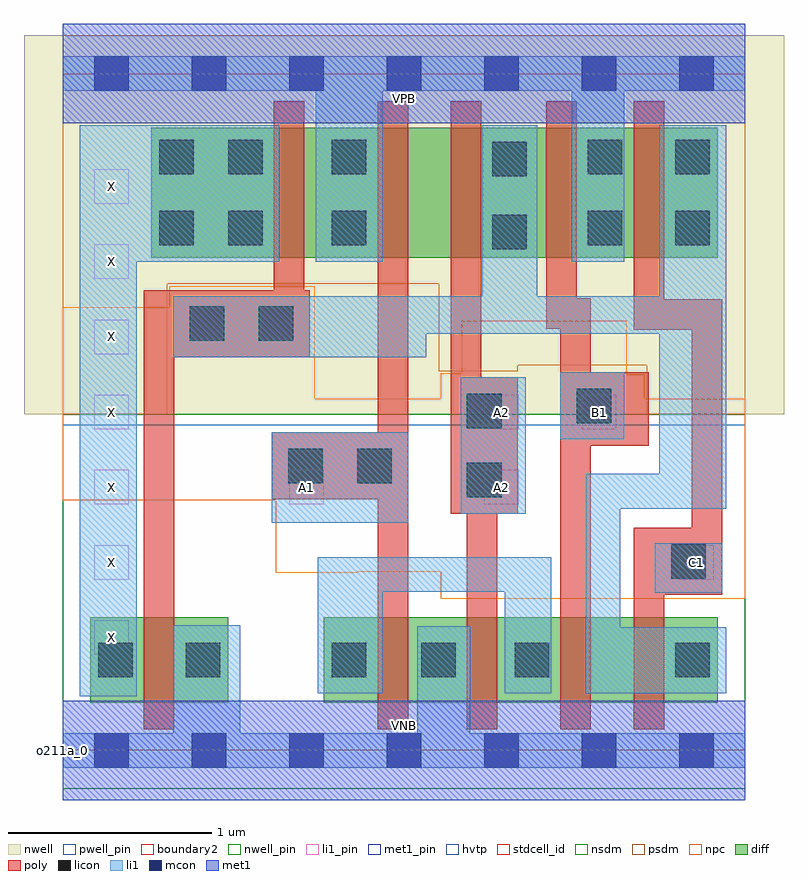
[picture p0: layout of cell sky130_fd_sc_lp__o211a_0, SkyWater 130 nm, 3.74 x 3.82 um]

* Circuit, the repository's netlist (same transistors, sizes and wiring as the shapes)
* Copyright 2020 The SkyWater PDK Authors
*
* Licensed under the Apache License, Version 2.0 (the "License");
* you may not use this file except in compliance with the License.
* You may obtain a copy of the License at
*
*     https://www.apache.org/licenses/LICENSE-2.0
*
* Unless required by applicable law or agreed to in writing, software
* distributed under the License is distributed on an "AS IS" BASIS,
* WITHOUT WARRANTIES OR CONDITIONS OF ANY KIND, either express or implied.
* See the License for the specific language governing permissions and
* limitations under the License.
*
* SPDX-License-Identifier: Apache-2.0

.SUBCKT sky130_fd_sc_lp__o211a_0 A1 A2 B1 C1 VGND VNB VPB VPWR X
*.PININFO A1:I A2:I B1:I C1:I VGND:I VNB:I VPB:I VPWR:I X:O
MMPA0 VPWR A1 sndA1 VPB sky130_fd_pr__pfet_01v8_hvt m=1 w=0.64U l=0.15U mult=1
+ sa=0.265 sb=0.265 sd=0.28 area=0.063 perim=1.14
MMPA1 sndA1 A2 y VPB sky130_fd_pr__pfet_01v8_hvt m=1 w=0.64U l=0.15U mult=1 sa=0.265
+ sb=0.265 sd=0.28 area=0.063 perim=1.14
MMPB0 VPWR B1 y VPB sky130_fd_pr__pfet_01v8_hvt m=1 w=0.64U l=0.15U mult=1 sa=0.265
+ sb=0.265 sd=0.28 area=0.063 perim=1.14
MMPC0 VPWR C1 y VPB sky130_fd_pr__pfet_01v8_hvt m=1 w=0.64U l=0.15U mult=1 sa=0.265
+ sb=0.265 sd=0.28 area=0.063 perim=1.14
MMIPX X y VPWR VPB sky130_fd_pr__pfet_01v8_hvt m=1 w=0.64U l=0.15U mult=1 sa=0.265
+ sb=0.265 sd=0.28 area=0.063 perim=1.14
MMNA0 pndA A1 VGND VNB sky130_fd_pr__nfet_01v8 m=1 w=0.42U l=0.15U mult=1 sa=0.265
+ sb=0.265 sd=0.28 area=0.063 perim=1.14
MMNA1 pndA A2 VGND VNB sky130_fd_pr__nfet_01v8 m=1 w=0.42U l=0.15U mult=1 sa=0.265
+ sb=0.265 sd=0.28 area=0.063 perim=1.14
MMNB0 pndB B1 pndA VNB sky130_fd_pr__nfet_01v8 m=1 w=0.42U l=0.15U mult=1 sa=0.265
+ sb=0.265 sd=0.28 area=0.063 perim=1.14
MMNC0 y C1 pndB VNB sky130_fd_pr__nfet_01v8 m=1 w=0.42U l=0.15U mult=1 sa=0.265
+ sb=0.265 sd=0.28 area=0.063 perim=1.14
MMINX X y VGND VNB sky130_fd_pr__nfet_01v8 m=1 w=0.42U l=0.15U mult=1 sa=0.265
+ sb=0.265 sd=0.28 area=0.063 perim=1.14
.ENDS sky130_fd_sc_lp__o211a_0

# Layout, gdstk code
import gdstk
lib = gdstk.Library(unit=1e-6, precision=1e-09)
def R(c, l, rs):  # rectangles x0, y0, x1, y1
    for r in rs: c.add(gdstk.rectangle(r[:2], r[2:], *l))
def A(c, l, x, y, w, h, nx, ny, dx, dy):  # array of equal rectangles
    R(c, l, [(x+i*dx, y+j*dy, x+i*dx+w, y+j*dy+h) for i in range(nx) for j in range(ny)])
def P(c, l, *ps):  # polygons
    for p in ps: c.add(gdstk.Polygon(p, *l))
nwell_pin = (64, 16)
nwell = (64, 20)
diff = (65, 20)
poly = (66, 20)
licon = (66, 44)
li1_pin = (67, 16)
li1 = (67, 20)
mcon = (67, 44)
met1_pin = (68, 16)
met1 = (68, 20)
hvtp = (78, 44)
stdcell_id = (81, 4)
nsdm = (93, 44)
psdm = (94, 20)
npc = (95, 20)
pwell_pin = (122, 16)
boundary2 = (236, 0)

sky130_fd_sc_lp__o211a_0 = lib.new_cell('sky130_fd_sc_lp__o211a_0')
R(sky130_fd_sc_lp__o211a_0, nwell_pin, [(0,3.085,3.36,3.33)])
R(sky130_fd_sc_lp__o211a_0, nwell, [(-0.19,1.655,3.55,3.52)])
R(sky130_fd_sc_lp__o211a_0, diff, [(0.135,0.235,0.815,0.655), (1.285,0.235,3.225,0.655), (0.435,2.425,3.225,3.065)])
P(sky130_fd_sc_lp__o211a_0, poly, [(1.215,2.265),(1.19,2.265),(1.19,3.195),(1.04,3.195),(1.04,2.265),(0.4,2.265),(0.4,0.105),(0.55,0.105),(0.55,1.935),(1.215,1.935)],
  [(1.7,3.195),(1.55,3.195),(1.55,1.565),(1.03,1.565),(1.03,1.235),(1.55,1.235),(1.55,0.105),(1.7,0.105)],
  [(2.24,1.835),(2.06,1.835),(2.06,3.195),(1.91,3.195),(1.91,1.165),(1.99,1.165),(1.99,0.105),(2.14,0.105),(2.14,1.165),(2.24,1.165)],
  [(3.245,2.22),(2.96,2.22),(2.96,3.195),(2.81,3.195),(2.81,2.07),(3.095,2.07),(3.095,1.095),(2.81,1.095),(2.81,0.105),(2.96,0.105),(2.96,0.765),(3.245,0.765)],
  [(2.885,1.86),(2.6,1.86),(2.6,2.225),(2.53,2.225),(2.53,3.195),(2.38,3.195),(2.38,2.075),(2.45,2.075),(2.45,0.105),(2.6,0.105),(2.6,1.5),(2.885,1.5)])
R(sky130_fd_sc_lp__o211a_0, licon, [(0.175,0.36,0.345,0.53), (0.605,0.36,0.775,0.53), (1.325,0.36,1.495,0.53), (1.765,0.36,1.935,0.53), (2.225,0.36,2.395,0.53), (3.015,0.36,3.185,0.53), (2.995,0.845,3.165,1.015), (1.99,1.245,2.16,1.415), (1.11,1.315,1.28,1.485), (1.45,1.315,1.62,1.485), (1.99,1.585,2.16,1.755), (2.53,1.61,2.7,1.78), (0.625,2.015,0.795,2.185), (0.965,2.015,1.135,2.185), (2.115,2.465,2.285,2.635), (0.475,2.485,0.645,2.655), (0.815,2.485,0.985,2.655), (1.325,2.485,1.495,2.655), (2.585,2.485,2.755,2.655), (3.015,2.485,3.185,2.655), (2.115,2.825,2.285,2.995), (0.475,2.835,0.645,3.005), (0.815,2.835,0.985,3.005), (1.325,2.835,1.495,3.005), (2.585,2.835,2.755,3.005), (3.015,2.835,3.185,3.005)])
A(sky130_fd_sc_lp__o211a_0, li1_pin, 0.155, 1.21, 0.17, 0.17, 3, 1, 0.96, 0)
A(sky130_fd_sc_lp__o211a_0, li1_pin, 0.155, 1.58, 0.17, 0.17, 1, 4, 0, 0.37)
R(sky130_fd_sc_lp__o211a_0, li1_pin, [(0.155,0.47,0.325,0.64), (0.155,0.84,0.325,1.01), (3.035,0.84,3.205,1.01), (2.075,1.58,2.245,1.75), (2.555,1.58,2.725,1.75)])
R(sky130_fd_sc_lp__o211a_0, li1, [(2.915,0.775,3.245,1.02), (1.03,1.12,1.7,1.565), (1.96,1.165,2.28,1.835), (2.45,1.53,2.765,1.86)])
P(sky130_fd_sc_lp__o211a_0, li1, [(1.065,3.075),(0.085,3.075),(0.085,0.265),(0.365,0.265),(0.365,2.405),(1.065,2.405)],
  [(3.36,0.085),(2.005,0.085),(2.005,0.61),(1.745,0.61),(1.745,0.085),(0.875,0.085),(0.875,0.615),(0.545,0.615),(0.545,0.085),(0,0.085),(0,-0.085),(3.36,-0.085)],
  [(2.405,0.95),(1.255,0.95),(1.255,0.28),(1.575,0.28),(1.575,0.78),(2.175,0.78),(2.175,0.28),(2.405,0.28)],
  [(3.265,0.605),(2.745,0.605),(2.745,1.19),(3.265,1.19),(3.265,3.075),(2.935,3.075),(2.935,2.235),(2.335,2.235),(2.335,3.075),(2.065,3.075),(2.065,2.235),(0.545,2.235),(0.545,1.935),(1.79,1.935),(1.79,2.05),(2.935,2.05),(2.935,1.36),(2.575,1.36),(2.575,0.28),(3.265,0.28)],
  [(3.36,3.415),(0,3.415),(0,3.245),(1.245,3.245),(1.245,2.405),(1.575,2.405),(1.575,3.245),(2.505,3.245),(2.505,2.405),(2.765,2.405),(2.765,3.245),(3.36,3.245)])
A(sky130_fd_sc_lp__o211a_0, mcon, 0.155, -0.085, 0.17, 0.17, 7, 2, 0.48, 3.33)
R(sky130_fd_sc_lp__o211a_0, met1_pin, [(0,0,3.36,0.245), (0,3.085,3.36,3.33)])
R(sky130_fd_sc_lp__o211a_0, met1, [(0,-0.245,3.36,0.245), (0,3.085,3.36,3.575)])
R(sky130_fd_sc_lp__o211a_0, hvtp, [(0,1.6,3.36,3.33)])
R(sky130_fd_sc_lp__o211a_0, stdcell_id, [(0,0,3.36,3.33)])
R(sky130_fd_sc_lp__o211a_0, nsdm, [(0,-0.19,3.36,1.655)])
P(sky130_fd_sc_lp__o211a_0, psdm, [(3.36,3.52),(0,3.52),(0,1.655),(0.515,1.655),(0.515,2.295),(1.85,2.295),(1.85,1.865),(2.24,1.865),(2.24,1.895),(2.875,1.895),(2.875,1.655),(3.36,1.655)])
P(sky130_fd_sc_lp__o211a_0, npc, [(3.36,1.73),(2.865,1.73),(2.865,1.85),(2.775,1.85),(2.775,2.115),(1.965,2.115),(1.965,1.855),(1.86,1.855),(1.86,1.73),(1.24,1.73),(1.24,2.285),(0.525,2.285),(0.525,2.18),(0,2.18),(0,1.23),(1.05,1.23),(1.05,0.875),(1.45,0.875),(1.45,0.88),(1.86,0.88),(1.86,0.745),(3.36,0.745)])
R(sky130_fd_sc_lp__o211a_0, pwell_pin, [(0,0,3.36,0.245)])
R(sky130_fd_sc_lp__o211a_0, boundary2, [(0,0,3.36,3.33)])
sky130_fd_sc_lp__o211a_0.add(gdstk.Label('VNB', (1.68,0.123), layer=64, texttype=59))
sky130_fd_sc_lp__o211a_0.add(gdstk.Label('VPB', (1.68,3.208), layer=64, texttype=5))
sky130_fd_sc_lp__o211a_0.add(gdstk.Label('o211a_0', (0,0), layer=83, texttype=44))
sky130_fd_sc_lp__o211a_0.add(gdstk.Label('VPWR', (1.68,3.208), layer=68, texttype=5))
sky130_fd_sc_lp__o211a_0.add(gdstk.Label('VGND', (1.68,0.123), layer=68, texttype=5))
sky130_fd_sc_lp__o211a_0.add(gdstk.Label('A2', (2.16,1.295), layer=67, texttype=5))
sky130_fd_sc_lp__o211a_0.add(gdstk.Label('A2', (2.16,1.665), layer=67, texttype=5))
sky130_fd_sc_lp__o211a_0.add(gdstk.Label('B1', (2.64,1.665), layer=67, texttype=5))
sky130_fd_sc_lp__o211a_0.add(gdstk.Label('C1', (3.12,0.925), layer=67, texttype=5))
sky130_fd_sc_lp__o211a_0.add(gdstk.Label('A1', (1.2,1.295), layer=67, texttype=5))
sky130_fd_sc_lp__o211a_0.add(gdstk.Label('X', (0.24,0.555), layer=67, texttype=5))
sky130_fd_sc_lp__o211a_0.add(gdstk.Label('X', (0.24,0.925), layer=67, texttype=5))
sky130_fd_sc_lp__o211a_0.add(gdstk.Label('X', (0.24,1.295), layer=67, texttype=5))
sky130_fd_sc_lp__o211a_0.add(gdstk.Label('X', (0.24,1.665), layer=67, texttype=5))
sky130_fd_sc_lp__o211a_0.add(gdstk.Label('X', (0.24,2.035), layer=67, texttype=5))
sky130_fd_sc_lp__o211a_0.add(gdstk.Label('X', (0.24,2.405), layer=67, texttype=5))
sky130_fd_sc_lp__o211a_0.add(gdstk.Label('X', (0.24,2.775), layer=67, texttype=5))

lib.write_gds('sky130_fd_sc_lp__o211a_0.gds')
